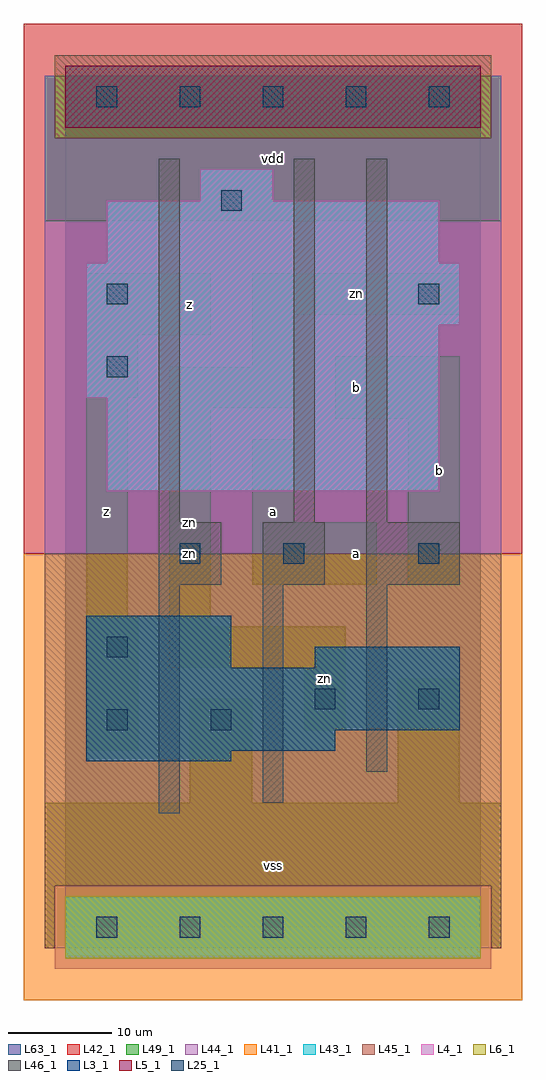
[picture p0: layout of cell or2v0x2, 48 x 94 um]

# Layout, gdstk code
import gdstk
lib = gdstk.Library(unit=1e-6, precision=1e-09)
def R(c, l, rs):  # rectangles x0, y0, x1, y1
    for r in rs: c.add(gdstk.rectangle(r[:2], r[2:], *l))
def A(c, l, x, y, w, h, nx, ny, dx, dy):  # array of equal rectangles
    R(c, l, [(x+i*dx, y+j*dy, x+i*dx+w, y+j*dy+h) for i in range(nx) for j in range(ny)])
L3_1 = (3, 1)
L4_1 = (4, 1)
L5_1 = (5, 1)
L6_1 = (6, 1)
L25_1 = (25, 1)
L41_1 = (41, 1)
L42_1 = (42, 1)
L43_1 = (43, 1)
L44_1 = (44, 1)
L45_1 = (45, 1)
L46_1 = (46, 1)
L49_1 = (49, 1)
L63_1 = (63, 1)

or2v0x2 = lib.new_cell('or2v0x2')
R(or2v0x2, L3_1, [(2,16,16,17), (2,17,26,19), (2,19,38,25), (2,25,16,30), (24,25,38,27)])
R(or2v0x2, L4_1, [(4,42,36,51), (2,51,36,58), (2,58,38,64), (4,64,36,70), (13,70,20,73)])
R(or2v0x2, L5_1, [(0,77,40,83)])
R(or2v0x2, L6_1, [(0,-3,40,3), (0,-3,40,3)])
A(or2v0x2, L25_1, 3, -1, 2, 2, 5, 2, 8, 80)
R(or2v0x2, L25_1, [(4,19,6,21), (14,19,16,21), (24,21,26,23), (34,21,36,23), (4,26,6,28), (11,35,13,37), (21,35,23,37), (34,35,36,37), (4,53,6,55), (4,60,6,62), (34,60,36,62), (15,69,17,71)])
R(or2v0x2, L41_1, [(-4,-7,44,36)])
R(or2v0x2, L42_1, [(-4,36,44,87)])
R(or2v0x2, L43_1, [(0,-3,40,3), (2,16,16,17), (2,17,26,19), (2,19,38,25), (2,25,16,30), (24,25,38,27), (4,42,36,51), (2,51,36,58), (2,58,38,64), (4,64,36,70), (13,70,20,73), (0,77,40,83)])
R(or2v0x2, L44_1, [(-1,-4,41,4), (-2,36,42,76), (-2,76,-1,82), (41,76,42,82)])
R(or2v0x2, L45_1, [(-2,-2,-1,4), (41,-2,42,4), (-2,4,42,36), (-1,76,41,84)])
R(or2v0x2, L46_1, [(9,11,11,33), (19,12,21,33), (29,15,31,33), (9,33,15,39), (19,33,25,39), (29,33,38,39), (9,39,11,74), (22,39,24,74), (29,39,31,74)])
R(or2v0x2, L49_1, [(-2,-2,42,12), (12,12,18,22), (32,12,38,24), (2,17,7,30), (23,19,27,25), (10,25,27,29), (10,29,14,50), (2,30,6,51), (18,33,30,39), (33,33,38,49), (18,39,22,47), (26,49,38,55), (10,50,22,54), (2,51,7,57), (18,54,22,59), (2,57,14,63), (18,59,38,63), (-2,68,42,82)])
R(or2v0x2, L63_1, [(0,0,40,80)])
or2v0x2.add(gdstk.Label('zn', (12,36), layer=49, texttype=1))
or2v0x2.add(gdstk.Label('z', (4,40), layer=49, texttype=1))
or2v0x2.add(gdstk.Label('zn', (12,39), layer=49, texttype=1))
or2v0x2.add(gdstk.Label('z', (12,60), layer=49, texttype=1))
or2v0x2.add(gdstk.Label('vss', (20,6), layer=49, texttype=1))
or2v0x2.add(gdstk.Label('zn', (25,24), layer=49, texttype=1))
or2v0x2.add(gdstk.Label('a', (28,36), layer=49, texttype=1))
or2v0x2.add(gdstk.Label('a', (20,40), layer=49, texttype=1))
or2v0x2.add(gdstk.Label('b', (28,52), layer=49, texttype=1))
or2v0x2.add(gdstk.Label('vdd', (20,74), layer=49, texttype=1))
or2v0x2.add(gdstk.Label('b', (36,44), layer=49, texttype=1))
or2v0x2.add(gdstk.Label('zn', (28,61), layer=49, texttype=1))

lib.write_gds('or2v0x2.gds')
